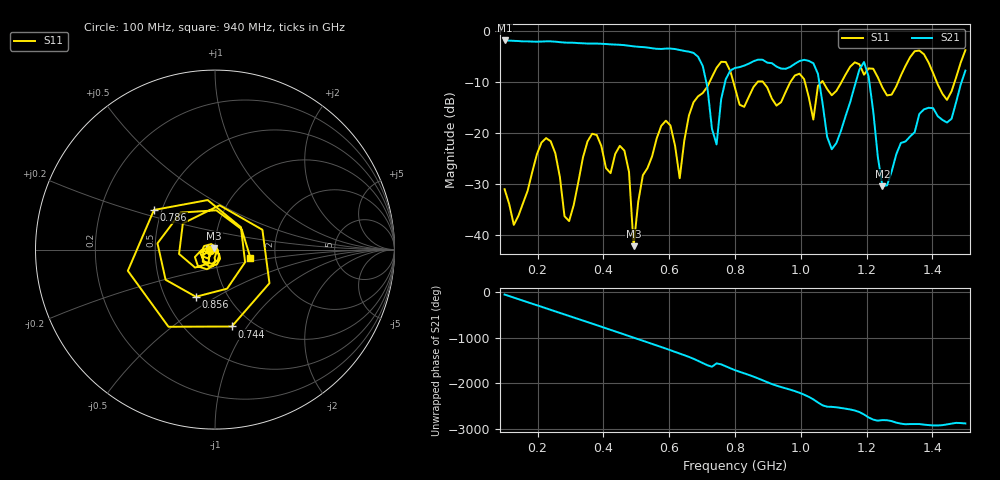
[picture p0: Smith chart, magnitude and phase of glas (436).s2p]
! NanoVNA-App
! Date: 2025-09-25 15:58:52
! Start: 100MHz Stop: 1,5GHz Points: 101
! S-Parameter data: F S11 S21 S12 S22
# Hz S RI R 50
!  Frequency  S11_Real  S11_Imag  S21_Real  S21_Imag  S12_Real  S12_Imag  S22_Real  S22_Imag
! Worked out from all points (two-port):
!   101 points, 100 MHz to 1.5 GHz, reference 50 ohm
!   highest |S21| = -1.80 dB at 100 MHz (marker M1); lowest = -30.3 dB at 1.248 GHz (marker M2)
!   |S21| within 3 dB of the highest: start of sweep to 684.2 MHz
!   lowest |S11| = -42.1 dB at 492 MHz (marker M3), VSWR 1.02, Z = 49.5 + j0.616 ohm
!   |S11| at or under -10 dB: start of sweep to 722.4 MHz; 795.3 MHz to 867.9 MHz (72.55 MHz wide, 8.72 % of centre); 886 MHz to 967.7 MHz (81.72 MHz wide, 8.82 % of centre) (the widest 3 of 7)
!   S12 and S22 are empty: the file has one direction only
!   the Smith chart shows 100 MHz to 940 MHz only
!   S11 on the Smith chart (normalised r, x): 100 MHz: 0.95, -0.01; 744 MHz: 0.80, -0.85; 786 MHz: 0.45, +0.24; 856 MHz: 0.71, -0.41; 940 MHz: 1.48, -0.14
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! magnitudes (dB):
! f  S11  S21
! 100 MHz  -30.9  -1.8
! 128 MHz  -37.9  -1.9
! 226 MHz  -20.9  -2.0
! 296 MHz  -37.2  -2.2
! 338 MHz  -24.7  -2.4
! 464 MHz  -23.4  -2.7
! 492 MHz  -42.1  -3.0
! 576 MHz  -18.5  -3.5
! 632 MHz  -28.8  -3.7
! 702 MHz  -12.1  -6.8
! 744 MHz  -7.2  -22.2
! 786 MHz  -7.8  -7.7
! 800 MHz  -11.1  -7.2
! 856 MHz  -10.9  -5.9
! 940 MHz  -13.9  -7.3
! 1.038 GHz  -17.3  -6.3
! 1.094 GHz  -12.5  -23.1
! 1.192 GHz  -8.5  -6.0
! 1.248 GHz  -11.0  -30.3
! 1.276 GHz  -12.4  -27.5
! 1.444 GHz  -13.4  -17.9
! 1.5 GHz  -3.7  -7.7
